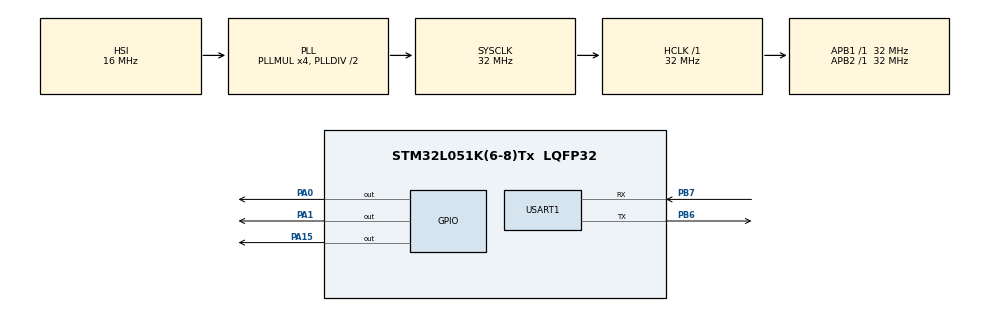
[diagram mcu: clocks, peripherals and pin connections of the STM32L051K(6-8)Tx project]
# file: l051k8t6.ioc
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FREERTOS.BinarySemaphores01=Sem1,Dynamic,NULL
FREERTOS.Tasks01=defaultTask,0,128,StartDefaultTask,Default,NULL,Dynamic,NULL,NULL;GPIOTest,0,128,StartGPIO,Default,NULL,Dynamic,NULL,NULL;TaskTest,-2,128,StarTest,Default,NULL,Dynamic,NULL,NULL;UartTest,0,128,StartUart,Default,NULL,Dynamic,NULL,NULL
FREERTOS.configUSE_TIMERS=1
Mcu.Family=STM32L0
Mcu.Name=STM32L051K(6-8)Tx
Mcu.Package=LQFP32
NVIC.TIM2_IRQn=true\:0\:0\:false\:false\:true\:false\:false\:true
NVIC.TimeBase=TIM2_IRQn
NVIC.TimeBaseIP=TIM2
PA0.GPIO_Speed=GPIO_SPEED_FREQ_HIGH
PA0.Signal=GPIO_Output
PA1.GPIO_Speed=GPIO_SPEED_FREQ_HIGH
PA1.PinState=GPIO_PIN_SET
PA1.Signal=GPIO_Output
PA13.Mode=Serial_Wire
PA13.Signal=SYS_SWDIO
PA14.Mode=Serial_Wire
PA14.Signal=SYS_SWCLK
PA15.GPIO_Speed=GPIO_SPEED_FREQ_HIGH
PA15.Signal=GPIO_Output
PB6.Mode=Asynchronous
PB6.Signal=USART1_TX
PB7.Mode=Asynchronous
PB7.Signal=USART1_RX
ProjectManager.HeapSize=0x200
ProjectManager.StackSize=0x400
ProjectManager.TargetToolchain=MDK-ARM V5
RCC.AHBFreq_Value=32000000
RCC.APB1Freq_Value=32000000
RCC.APB1TimFreq_Value=32000000
RCC.APB2Freq_Value=32000000
RCC.APB2TimFreq_Value=32000000
RCC.HCLKFreq_Value=32000000
RCC.HSI16_VALUE=16000000
RCC.HSI_VALUE=16000000
RCC.LSE_VALUE=32768
RCC.MSI_VALUE=2097000
RCC.PLLMUL=RCC_PLLMUL_4
RCC.SYSCLKFreq_VALUE=32000000
RCC.SYSCLKSource=RCC_SYSCLKSOURCE_PLLCLK
RCC.VCOOutputFreq_Value=64000000
USART1.VirtualMode-Asynchronous=VM_ASYNC
VP_FREERTOS_VS_CMSIS_V1.Mode=CMSIS_V1
VP_SYS_VS_tim2.Mode=TIM2
board=custom

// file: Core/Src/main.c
/* USER CODE BEGIN Header */
/**
  ******************************************************************************
  * @file           : main.c
  * @brief          : Main program body
  ******************************************************************************
  * @attention
  *
  * <h2><center>&copy; Copyright (c) 2021 STMicroelectronics.
  * All rights reserved.</center></h2>
  *
  * This software component is licensed by ST under Ultimate Liberty license
  * SLA0044, the "License"; You may not use this file except in compliance with
  * the License. You may obtain a copy of the License at:
  *                             www.st.com/SLA0044
  *
  ******************************************************************************
  */
/* USER CODE END Header */
#include "main.h"
#include "cmsis_os.h"

/* USER CODE BEGIN Includes */
#include "stm32l0xx.h" // Device header

/* USER CODE END Includes */

UART_HandleTypeDef huart1;

osThreadId defaultTaskHandle;
osThreadId GPIOTestHandle;
osThreadId TaskTestHandle;
osThreadId UartTestHandle;
osSemaphoreId Sem1Handle;

void SystemClock_Config(void);
static void MX_GPIO_Init(void);
static void MX_USART1_UART_Init(void);
void StartDefaultTask(void const * argument);
void StartGPIO(void const * argument);
void StarTest(void const * argument);
void StartUart(void const * argument);

int main(void)
{

  /* MCU Configuration--------------------------------------------------------*/

  /* Reset of all peripherals, Initializes the Flash interface and the Systick. */
  HAL_Init();

  /* Configure the system clock */
  SystemClock_Config();

  /* Initialize all configured peripherals */
  MX_GPIO_Init();
  MX_USART1_UART_Init();

  /* Create the semaphores(s) */
  /* definition and creation of Sem1 */
  osSemaphoreDef(Sem1);
  Sem1Handle = osSemaphoreCreate(osSemaphore(Sem1), 1);

  /* Create the thread(s) */
  /* definition and creation of defaultTask */
  osThreadDef(defaultTask, StartDefaultTask, osPriorityNormal, 0, 128);
  defaultTaskHandle = osThreadCreate(osThread(defaultTask), NULL);

  /* definition and creation of GPIOTest */
  osThreadDef(GPIOTest, StartGPIO, osPriorityNormal, 0, 128);
  GPIOTestHandle = osThreadCreate(osThread(GPIOTest), NULL);

  /* definition and creation of TaskTest */
  osThreadDef(TaskTest, StarTest, osPriorityLow, 0, 128);
  TaskTestHandle = osThreadCreate(osThread(TaskTest), NULL);

  /* definition and creation of UartTest */
  osThreadDef(UartTest, StartUart, osPriorityNormal, 0, 128);
  UartTestHandle = osThreadCreate(osThread(UartTest), NULL);

  /* Start scheduler */
  osKernelStart();

  /* We should never get here as control is now taken by the scheduler */
  /* Infinite loop */
  while (1)
  {

  }
}

void SystemClock_Config(void)
{
  RCC_OscInitTypeDef RCC_OscInitStruct = {0};
  RCC_ClkInitTypeDef RCC_ClkInitStruct = {0};
  RCC_PeriphCLKInitTypeDef PeriphClkInit = {0};

  /** Configure the main internal regulator output voltage
  */
  __HAL_PWR_VOLTAGESCALING_CONFIG(PWR_REGULATOR_VOLTAGE_SCALE1);
  /** Initializes the RCC Oscillators according to the specified parameters
  * in the RCC_OscInitTypeDef structure.
  */
  RCC_OscInitStruct.OscillatorType = RCC_OSCILLATORTYPE_HSI;
  RCC_OscInitStruct.HSIState = RCC_HSI_ON;
  RCC_OscInitStruct.HSICalibrationValue = RCC_HSICALIBRATION_DEFAULT;
  RCC_OscInitStruct.PLL.PLLState = RCC_PLL_ON;
  RCC_OscInitStruct.PLL.PLLSource = RCC_PLLSOURCE_HSI;
  RCC_OscInitStruct.PLL.PLLMUL = RCC_PLLMUL_4;
  RCC_OscInitStruct.PLL.PLLDIV = RCC_PLLDIV_2;
  if (HAL_RCC_OscConfig(&RCC_OscInitStruct) != HAL_OK)
  {
    Error_Handler();
  }
  /** Initializes the CPU, AHB and APB buses clocks
  */
  RCC_ClkInitStruct.ClockType = RCC_CLOCKTYPE_HCLK|RCC_CLOCKTYPE_SYSCLK
                              |RCC_CLOCKTYPE_PCLK1|RCC_CLOCKTYPE_PCLK2;
  RCC_ClkInitStruct.SYSCLKSource = RCC_SYSCLKSOURCE_PLLCLK;
  RCC_ClkInitStruct.AHBCLKDivider = RCC_SYSCLK_DIV1;
  RCC_ClkInitStruct.APB1CLKDivider = RCC_HCLK_DIV1;
  RCC_ClkInitStruct.APB2CLKDivider = RCC_HCLK_DIV1;

  if (HAL_RCC_ClockConfig(&RCC_ClkInitStruct, FLASH_LATENCY_1) != HAL_OK)
  {
    Error_Handler();
  }
  PeriphClkInit.PeriphClockSelection = RCC_PERIPHCLK_USART1;
  PeriphClkInit.Usart1ClockSelection = RCC_USART1CLKSOURCE_PCLK2;
  if (HAL_RCCEx_PeriphCLKConfig(&PeriphClkInit) != HAL_OK)
  {
    Error_Handler();
  }
}

static void MX_USART1_UART_Init(void)
{

  huart1.Instance = USART1;
  huart1.Init.BaudRate = 115200;
  huart1.Init.WordLength = UART_WORDLENGTH_8B;
  huart1.Init.StopBits = UART_STOPBITS_1;
  huart1.Init.Parity = UART_PARITY_NONE;
  huart1.Init.Mode = UART_MODE_TX_RX;
  huart1.Init.HwFlowCtl = UART_HWCONTROL_NONE;
  huart1.Init.OverSampling = UART_OVERSAMPLING_16;
  huart1.Init.OneBitSampling = UART_ONE_BIT_SAMPLE_DISABLE;
  huart1.AdvancedInit.AdvFeatureInit = UART_ADVFEATURE_NO_INIT;
  if (HAL_UART_Init(&huart1) != HAL_OK)
  {
    Error_Handler();
  }

}

static void MX_GPIO_Init(void)
{
  GPIO_InitTypeDef GPIO_InitStruct = {0};

  /* GPIO Ports Clock Enable */
  __HAL_RCC_GPIOA_CLK_ENABLE();
  __HAL_RCC_GPIOB_CLK_ENABLE();

  /*Configure GPIO pin Output Level */
  HAL_GPIO_WritePin(GPIOA, GPIO_PIN_0|GPIO_PIN_15, GPIO_PIN_RESET);

  /*Configure GPIO pin Output Level */
  HAL_GPIO_WritePin(GPIOA, GPIO_PIN_1, GPIO_PIN_SET);

  /*Configure GPIO pins : PA0 PA1 PA15 */
  GPIO_InitStruct.Pin = GPIO_PIN_0|GPIO_PIN_1|GPIO_PIN_15;
  GPIO_InitStruct.Mode = GPIO_MODE_OUTPUT_PP;
  GPIO_InitStruct.Pull = GPIO_NOPULL;
  GPIO_InitStruct.Speed = GPIO_SPEED_FREQ_HIGH;
  HAL_GPIO_Init(GPIOA, &GPIO_InitStruct);

}

void StartDefaultTask(void const * argument)
{
  for(;;)
  {
		osDelay(1);
  }
}

void StartGPIO(void const * argument)
{
  /* USER CODE BEGIN StartGPIO */
  /* Infinite loop */
  for(;;)
  {
	static char p1 = 1;
	if(p1)
	{
		HAL_GPIO_WritePin(GPIOA, GPIO_PIN_1, GPIO_PIN_RESET);
		p1 = 0;
    }
	else
	{
		HAL_GPIO_WritePin(GPIOA, GPIO_PIN_1, GPIO_PIN_SET);
		p1 = 1;
    }
    osDelay(1);

    static char p0 = 0;
    if(p0)
    {
      HAL_GPIO_WritePin(GPIOA, GPIO_PIN_0, GPIO_PIN_RESET);
      p0 = 0;
    }
    else
    {
      HAL_GPIO_WritePin(GPIOA, GPIO_PIN_0, GPIO_PIN_SET);
      p0 = 1;
    }
  }
  /* USER CODE END StartGPIO */
}

void StarTest(void const * argument)
{
  /* USER CODE BEGIN StarTest */
  /* Infinite loop */
  for(;;)
  {
    HAL_GPIO_TogglePin(GPIOA, GPIO_PIN_15);
	osSemaphoreRelease(Sem1Handle);
    osDelay(1000);
  }
  /* USER CODE END StarTest */
}

void StartUart(void const * argument)
{
  /* USER CODE BEGIN StartUart */
  /* Infinite loop */
  for(;;)
  {
    char UartTxBuf [20] = "hello\r\n";

//    printf("hello\r\n");
    osSemaphoreWait(Sem1Handle, osWaitForever);
    HAL_UART_Transmit(&huart1, UartTxBuf, 7, 0xff);
//    osDelay(1000);
  }
  /* USER CODE END StartUart */
}

void HAL_TIM_PeriodElapsedCallback(TIM_HandleTypeDef *htim)
{
  if (htim->Instance == TIM2) {
    HAL_IncTick();
  }
}

void Error_Handler(void)
{
}

/************************ (C) COPYRIGHT STMicroelectronics *****END OF FILE****/
